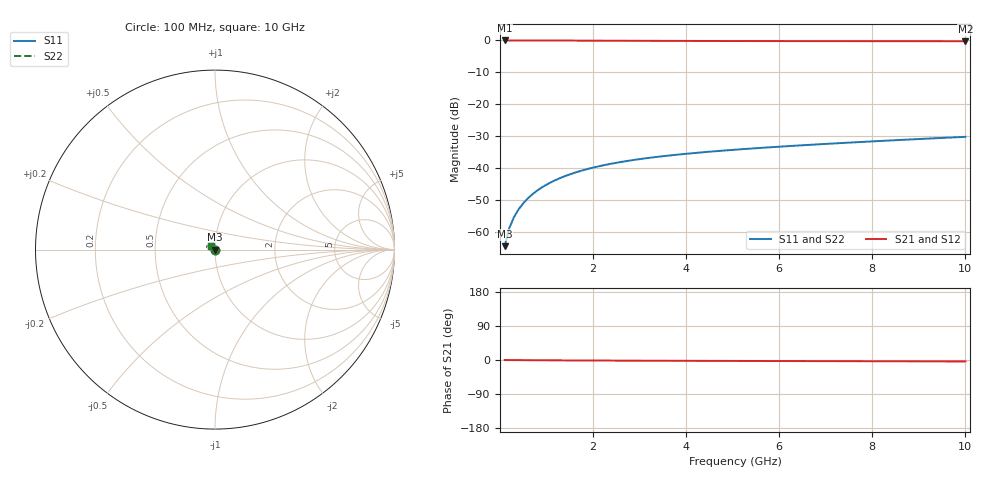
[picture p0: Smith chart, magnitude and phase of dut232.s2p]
! Touchstone file exported from HFSS 2024.1.0
!  File:  C:/UserFiles/LocalFiles/RDL_TSV_Batchsim/temp_TSV1_232_1779388805.aedt
!  Generated:  02:46:44 AM May 22, 2026
!  Design:  TSV1
!  Project:  temp_TSV1_232_1779388805
!  Setup:  Setup1
!  Solution:  Sweep
! Variables:
!  dtsv = 7.6um
!  hbump = 3um
!  htsv = 52.26um
!  lrdl = 252.1521522um
!  p = 40
!  p1 = 57.96um
!  t = 500um
!  trdl = 3um
!  wrdl = 24.89489489um
# GHz S MA R 50.000000
! Terminal data exported
! Port[1] = TSV22_T1
! Port[2] = TSV22_T2
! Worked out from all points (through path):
!   100 points, 100 MHz to 10 GHz, reference 50 ohm
!   highest |S21| = 0.00 dB at 100 MHz (marker M1); lowest = -0.2 dB at 10 GHz (marker M2)
!   lowest |S11| = -64.5 dB at 100 MHz (marker M3), VSWR 1.00, Z = 50 - j0.0567 ohm
!   |S11| at or under -10 dB: start of sweep to end of sweep
!   |S22| runs from -64.5 to -30.2 dB; largest |S21 - S12| = 2.9e-15
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0.1  0.0005923 -73.3  0.9998 -0.1  0.9998 -0.1  0.0005923 -73.3
! Gamma 0 0 0 0
! Port Impedance 50 0 50 0
0.2  0.001134 -85.2  0.9997 -0.2  0.9997 -0.2  0.001134 -85.2
0.3  0.001686 -91.0  0.9996 -0.2  0.9996 -0.2  0.001686 -91.0
0.4  0.002238 -95.2  0.9994 -0.3  0.9994 -0.3  0.002238 -95.2
0.5  0.002788 -98.7  0.9991 -0.4  0.9991 -0.4  0.002788 -98.7
0.6  0.003335 -101.8  0.9989 -0.5  0.9989 -0.5  0.003335 -101.8
0.7  0.003876 -104.7  0.9985 -0.6  0.9985 -0.6  0.003876 -104.7
0.8  0.004412 -107.5  0.9982 -0.6  0.9982 -0.6  0.004412 -107.5
0.9  0.00494 -110.1  0.9978 -0.7  0.9978 -0.7  0.00494 -110.1
1.1  0.005972 -115.2  0.9969 -0.9  0.9969 -0.9  0.005972 -115.2
1.4  0.007448 -122.3  0.9955 -1.1  0.9955 -1.1  0.007448 -122.3
1.6  0.008379 -126.8  0.9944 -1.2  0.9944 -1.2  0.008379 -126.8
1.8  0.009266 -131.1  0.9933 -1.3  0.9933 -1.3  0.009266 -131.1
2.1  0.01052 -137.2  0.9917 -1.5  0.9917 -1.5  0.01052 -137.2
2.5  0.01204 -144.8  0.9895 -1.6  0.9895 -1.6  0.01204 -144.8
2.9  0.01342 -151.8  0.9874 -1.8  0.9874 -1.8  0.01342 -151.8
3.4  0.01498 -159.8  0.9851 -2.0  0.9851 -2.0  0.01498 -159.8
4.2  0.01719 -170.9  0.982 -2.2  0.982 -2.2  0.01719 -170.9
5.1  0.01943 178.5  0.9793 -2.5  0.9793 -2.5  0.01943 178.5
6.7  0.02313 163.7  0.976 -2.9  0.976 -2.9  0.02313 163.7
8.4  0.02701 151.9  0.9738 -3.4  0.9738 -3.4  0.02701 151.9
10  0.03075 143.2  0.9723 -3.8  0.9723 -3.8  0.03076 143.2
